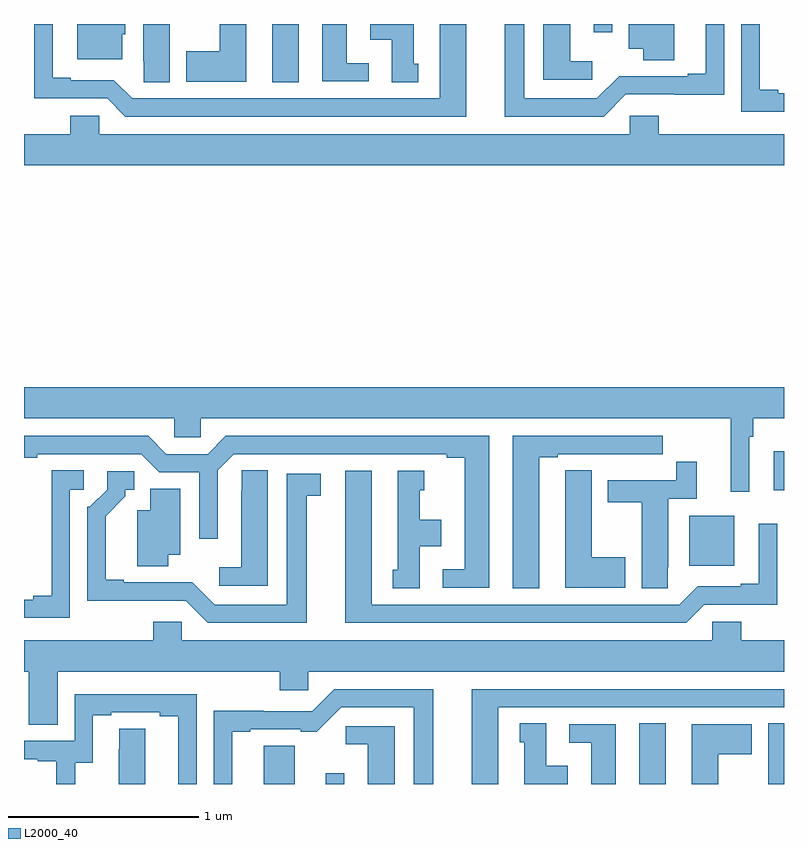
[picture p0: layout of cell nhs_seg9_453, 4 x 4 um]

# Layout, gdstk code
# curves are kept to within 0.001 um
import gdstk
lib = gdstk.Library(unit=1e-6, precision=1e-09)
def R(c, l, rs):  # rectangles x0, y0, x1, y1
    for r in rs: c.add(gdstk.rectangle(r[:2], r[2:], *l))
def P(c, l, *ps):  # polygons
    for p in ps: c.add(gdstk.Polygon(p, *l))
L2000_40 = (2000, 40)

nhs_seg9_453 = lib.new_cell('nhs_seg9_453')
R(nhs_seg9_453, L2000_40, [(134.588,1190.5,134.685,1190.557), (136.238,1190.5,136.378,1190.819), (136.916,1190.5,137,1190.819), (136.502,1191.65,136.738,1191.913), (136.946,1192.046,137,1192.252), (134.306,1194.193,134.446,1194.5), (135.999,1194.456,136.095,1194.5)])
P(nhs_seg9_453, L2000_40, [(134.815,1194.294),(134.698,1194.294),(134.698,1194.5),(134.57,1194.5),(134.57,1194.198),(134.815,1194.198)],
  [(135.991,1194.304),(135.874,1194.304),(135.874,1194.5),(135.734,1194.5),(135.734,1194.207),(135.991,1194.207)],
  [(134.17,1194.5),(134.03,1194.5),(134.03,1194.357),(133.853,1194.357),(133.853,1194.197),(134.17,1194.197)],
  [(136.423,1194.5),(136.184,1194.5),(136.184,1194.371),(136.259,1194.371),(136.259,1194.31),(136.423,1194.31)],
  [(133.516,1194.447),(133.534,1194.447),(133.534,1194.5),(133.28,1194.5),(133.28,1194.314),(133.516,1194.314)],
  [(135.076,1194.291),(135.052,1194.291),(135.052,1194.5),(134.822,1194.5),(134.822,1194.416),(134.936,1194.416),(134.936,1194.193),(135.076,1194.193)],
  [(135.328,1194.5),(135.188,1194.5),(135.188,1194.108),(133.569,1194.108),(133.473,1194.204),(133.246,1194.204),(133.246,1194.217),(133.15,1194.217),(133.15,1194.5),(133.053,1194.5),(133.053,1194.108),(133.437,1194.108),(133.533,1194.012),(135.328,1194.012)],
  [(133.768,1194.5),(133.628,1194.5),(133.628,1194.304),(133.629,1194.304),(133.629,1194.193),(133.768,1194.193)],
  [(136.167,1194.129),(136.686,1194.128),(136.686,1194.5),(136.589,1194.5),(136.589,1194.238),(136.493,1194.238),(136.493,1194.225),(136.132,1194.226),(136.014,1194.108),(135.634,1194.108),(135.634,1194.5),(135.53,1194.5),(135.53,1194.012),(136.05,1194.012)],
  [(137,1194.135),(136.969,1194.135),(136.969,1194.155),(136.873,1194.155),(136.873,1194.5),(136.776,1194.5),(136.776,1194.039),(137,1194.039)],
  [(137,1193.92),(136.34,1193.92),(136.34,1194.018),(136.188,1194.018),(136.188,1193.92),(133.395,1193.92),(133.395,1194.018),(133.244,1194.018),(133.244,1193.92),(133,1193.92),(133,1193.756),(137,1193.756)],
  [(136.818,1192.328),(136.838,1192.328),(136.838,1192.424),(137,1192.424),(137,1192.588),(133,1192.588),(133,1192.424),(133.791,1192.424),(133.791,1192.326),(133.929,1192.326),(133.929,1192.424),(136.721,1192.424),(136.721,1192.038),(136.818,1192.038)],
  [(135.712,1192.221),(135.808,1192.221),(135.808,1192.236),(136.084,1192.236),(136.084,1192.235),(136.25,1192.235),(136.25,1192.236),(136.363,1192.236),(136.363,1192.332),(135.572,1192.332),(135.572,1191.529),(135.712,1191.529)],
  [(135.448,1192.332),(134.063,1192.332),(133.967,1192.236),(133.749,1192.236),(133.653,1192.332),(133,1192.332),(133,1192.216),(133.069,1192.216),(133.069,1192.236),(133.617,1192.236),(133.713,1192.14),(133.923,1192.14),(133.923,1191.792),(134.019,1191.792),(134.019,1192.152),(134.103,1192.236),(135.224,1192.236),(135.224,1192.216),(135.32,1192.216),(135.32,1191.63),(135.204,1191.63),(135.204,1191.534),(135.448,1191.534)],
  [(136.389,1191.64),(136.39,1191.64),(136.39,1192.002),(136.541,1192.002),(136.541,1192.195),(136.432,1192.195),(136.432,1192.098),(136.073,1192.098),(136.073,1191.982),(136.25,1191.982),(136.25,1191.529),(136.389,1191.529)],
  [(133.242,1192.05),(133.315,1192.05),(133.315,1192.151),(133.145,1192.151),(133.145,1191.491),(133.049,1191.491),(133.049,1191.471),(133,1191.471),(133,1191.375),(133.242,1191.375)],
  [(136.165,1191.693),(135.988,1191.693),(135.988,1192.151),(135.849,1192.151),(135.849,1192.043),(135.848,1192.043),(135.848,1191.533),(136.165,1191.533)],
  [(134.284,1192.151),(134.145,1192.151),(134.145,1192.043),(134.144,1192.043),(134.144,1191.64),(134.028,1191.64),(134.028,1191.543),(134.284,1191.543)],
  [(135.082,1191.752),(135.196,1191.752),(135.196,1191.892),(135.082,1191.892),(135.082,1192.047),(135.106,1192.047),(135.106,1192.15),(134.966,1192.15),(134.966,1191.627),(134.942,1191.627),(134.942,1191.529),(135.082,1191.529)],
  [(136.581,1191.444),(136.965,1191.444),(136.965,1191.871),(136.868,1191.871),(136.868,1191.553),(136.772,1191.553),(136.772,1191.54),(136.545,1191.54),(136.449,1191.444),(134.83,1191.444),(134.83,1192.15),(134.69,1192.15),(134.69,1191.348),(136.485,1191.348)],
  [(134.488,1192.018),(134.563,1192.018),(134.563,1192.134),(134.384,1192.134),(134.384,1191.444),(134.004,1191.444),(133.886,1191.562),(133.525,1191.561),(133.525,1191.574),(133.429,1191.574),(133.429,1191.91),(133.534,1192.015),(133.534,1192.05),(133.579,1192.05),(133.579,1192.146),(133.437,1192.146),(133.437,1192.05),(133.347,1191.96),(133.332,1191.96),(133.332,1191.464),(133.851,1191.465),(133.968,1191.348),(134.488,1191.348)],
  [(133.759,1191.707),(133.822,1191.707),(133.822,1192.055),(133.664,1192.055),(133.664,1191.94),(133.595,1191.94),(133.595,1191.646),(133.759,1191.646)],
  [(134.345,1190.994),(134.496,1190.994),(134.496,1191.092),(137,1191.092),(137,1191.256),(136.775,1191.256),(136.775,1191.354),(136.623,1191.354),(136.623,1191.256),(133.83,1191.256),(133.83,1191.354),(133.679,1191.354),(133.679,1191.256),(133,1191.256),(133,1191.092),(133.025,1191.092),(133.025,1190.812),(133.177,1190.812),(133.177,1191.092),(134.345,1191.092)],
  [(134.095,1190.775),(134.191,1190.775),(134.191,1190.787),(134.456,1190.787),(134.456,1190.776),(134.542,1190.776),(134.67,1190.904),(135.05,1190.904),(135.05,1190.5),(135.154,1190.5),(135.154,1191),(134.634,1191),(134.517,1190.883),(134.261,1190.883),(134.261,1190.885),(133.998,1190.885),(133.998,1190.5),(134.095,1190.5)],
  [(135.496,1190.904),(137,1190.904),(137,1191),(135.356,1191),(135.356,1190.5),(135.496,1190.5)],
  [(133.269,1190.611),(133.363,1190.611),(133.363,1190.862),(133.459,1190.862),(133.459,1190.877),(133.715,1190.877),(133.715,1190.857),(133.811,1190.857),(133.811,1190.5),(133.908,1190.5),(133.908,1190.973),(133.266,1190.973),(133.266,1190.727),(133,1190.727),(133,1190.631),(133.073,1190.631),(133.073,1190.619),(133.169,1190.619),(133.169,1190.5),(133.269,1190.5)],
  [(135.862,1190.596),(135.748,1190.596),(135.748,1190.819),(135.608,1190.819),(135.608,1190.721),(135.632,1190.721),(135.632,1190.5),(135.862,1190.5)],
  [(136.654,1190.656),(136.831,1190.656),(136.831,1190.815),(136.514,1190.815),(136.514,1190.5),(136.654,1190.5)],
  [(136.114,1190.814),(135.87,1190.814),(135.87,1190.718),(135.986,1190.718),(135.986,1190.5),(136.114,1190.5)],
  [(134.95,1190.805),(134.694,1190.805),(134.694,1190.708),(134.81,1190.708),(134.81,1190.5),(134.95,1190.5)],
  [(133.639,1190.792),(133.5,1190.792),(133.5,1190.684),(133.499,1190.684),(133.499,1190.5),(133.639,1190.5)],
  [(134.425,1190.544),(134.424,1190.544),(134.424,1190.702),(134.261,1190.702),(134.261,1190.5),(134.425,1190.5)])

lib.write_gds('nhs_seg9_453.gds')
